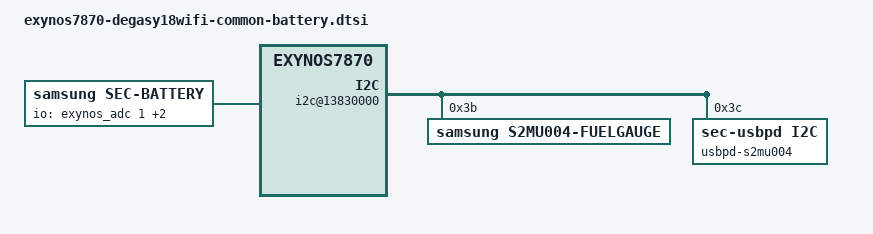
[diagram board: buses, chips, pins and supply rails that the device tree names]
/*
 * SAMSUNG UNIVERSAL5433 board device tree source
 *
 * Copyright (c) 2013 Samsung Electronics Co., Ltd.
 *		http://www.samsung.com
 *
 * This program is free software; you can redistribute it and/or modify
 * it under the terms of the GNU General Public License version 2 as
 * published by the Free Software Foundation.
 */

/ {
	pinctrl@139F0000 {
		fuel_irq: fuel-irq {
			samsung,pins = "gpa0-3";
			samsung,pin-function = <0>;
			samsung,pin-pud = <0>;
			samsung,pin-drv = <0>;
		};
	};

	pinctrl@139F0000 {
		if_pmic_irq: if-pmic-irq {
			samsung,pins = "gpa2-7";
			samsung,pin-function = <0>;
			samsung,pin-pud = <0>;
			samsung,pin-drv = <0>;
		};

		usbpd_irq: usbpd-irq {
			samsung,pins = "gpa2-6";
			samsung,pin-function = <0x0f>;
			samsung,pin-pud = <0>;
			samsung,pin-drv = <0>;
		};
	};

	i2c@13830000 {
		status = "okay";
		s2mu004-fuelgauge@3B {
			compatible = "samsung,s2mu004-fuelgauge";
			reg = <0x3B>;
			pinctrl-names = "default";
			pinctrl-0 = <&fuel_irq>;
			fuelgauge,fuel_int = <&gpa0 3 0>;
			fuelgauge,fuel_alert_soc = <1>;
			fuelgauge,fuel_alert_vol = <3300>;
			fuelgauge,capacity_max = <1000>;
			fuelgauge,capacity_max_margin = <200>;
			fuelgauge,capacity_min = <0>;
			fuelgauge,capacity_calculation_type = <28>;
			fuelgauge,capacity_full = <2450>;
			fuelgauge,type_str = "SDI";
			fuelgauge,model_type = <1>;
		};

		usbpd-s2mu004@3C {
			compatible = "sec-usbpd,i2c";
			reg = <0x3C>;
			pinctrl-names = "default";
			pinctrl-0     = <&usbpd_irq>;
			usbpd,usbpd_int = <&gpa2 6 0>;
		};
	};

	battery_params {
			battery,battery_table3 = <17 9 145 8 17 8 208 7 172 7 110 7 28 7 228 6 185
						6 150 6 121 6 97 6 75 6 55 6 34 6 13 6 240 5 195 5
						151 5 125 5 198 4 109 1 103 8 0 8 153 7 49 7 202 6
						98 6 251 5 147 5 44 5 196 4 93 4 246 3 142 3 39 3
						191 2 88 2 240 1 137 1 33 1 186 0 83 0 235 15>;

			battery,battery_table4 = <50 51 51 51 51 52 52 52 53 53 53 54 55 56 56 57
						57 58 58 59 61 154>;

			battery,batcap = <0xA8 0x2F 0xEA 0x0B>; /* [0x0E] [0x0F] [0x10] [0x11] */
			battery,accum = <0x7 0xC2>; /* [0x45] [0x44] */

			battery,soc_arr_val = <10000 9503 9005 8508 8011 7514 7017 6519 6022 5525 5028 4531 4034 3537 3040 2542 2046 1549 1052 554 57 (-100)>;
			battery,ocv_arr_val = <44376 43735 43094 42456 41890 41352 40839 40341 39746 39466 38996 38562 38303 38104 37947 37817 37668 37465 37206 36953 36204 31805>;
	};

	battery {
		status = "okay";

		pinctrl-names = "default";

		compatible = "samsung,sec-battery";
		battery,vendor = "SDI SDI";
		battery,charger_name = "s2mu004-charger";
		battery,fuelgauge_name = "s2mu004-fuelgauge";
		battery,technology = <2>; /* POWER_SUPPLY_TECHNOLOGY_LION */
		battery,fgsrc_switch_name = "s2mu004-fuelgauge"; /* Fuelgauge voltage source */

		battery,chip_vendor = "LSI";
		battery,temp_adc_type = <1>; /* SEC_BATTERY_ADC_TYPE_AP */

		battery,polling_time = <10 30 30 30 3600>;

		battery,enable_water_resistance;

		battery,temp_table_adc = <306 318 329 341 353 365 376 388 400 411 423 438 452 467 481 496 511 525 540 554 569
					586 604 621 639 656 678 700 722 744 766 815 839 863 888 912 936 960 985 1009 1038 1066
					1095 1123 1152 1194 1235 1277 1318 1360 1398 1436 1473 1511 1549 1590 1631 1672 1712 1753 1794 1835 1876 1917
					1958 1999 2039 2080 2121 2162 2211 2262 2314 2365 2419 2473 2526 2580 2634 2666 2698 2730 2762 2794 2839 2884 2929
					2974 3019 3051 3083 3114 3146 3178 3209 3239 3269 3299 3319 3340 3361 3382 3403
					3424 3445 3466 3487 3508 3529 3559>;

		battery,temp_table_data = <900 890 880 870 860 850 840 830 820 810 800 790 780 770 760 750 740 730 720 710 700
					690 680 670 660 650 640 630 620 610 600 590 580 570 560 550 540 530 520 510 500 490 480
					470 460 450 440 430 420 410 400 390 380 370 360 350 340 330 320 310 300 290 280 270 260
					250 240 230 220 210 200 190 180 170 160 150 140 130 120 110 100 90 80 70 60 50 40 30
					20 10 00 (-10) (-20) (-30) (-40) (-50) (-60) (-70) (-80) (-90) (-100) (-110) (-120) (-130)
					(-140) (-150) (-160) (-170) (-180) (-190) (-200) >;

		battery,wireless_cc_cv = <86>;
		battery,inbat_voltage = <1>;
		battery,inbat_voltage_table_adc = <2980 2941 2890 2877 2850 2807 2780 2736 2702 2660 2628 2602 2575 2545 2518>;
		battery,inbat_voltage_table_data = <410 405 400 395 390 385 380 375 370 365 360 355 350 345 340>;

		battery,adc_check_count = <5>;

		battery,cable_check_type = <4>; /* SEC_BATTERY_CABLE_CHECK_PSY */
		battery,cable_source_type = <1>; /* SEC_BATTERY_CABLE_SOURCE_EXTERNAL */
		battery,polling_type = <1>; /* SEC_BATTERY_MONITOR_ALARM */
		battery,monitor_initial_count = <0>;

		battery,battery_check_type = <0>; /* SEC_BATTERY_CHECK_NONE */
		battery,check_count = <0>;

		battery,check_adc_max = <1440>;
		battery,check_adc_min = <0>;

		battery,ovp_uvlo_check_type = <3>; /* SEC_BATTERY_OVP_UVLO_CHGPOLLING */

		battery,thermal_source = <2>; /* SEC_BATTERY_THERMAL_SOURCE_ADC */

		battery,temp_check_type = <2>; /* SEC_BATTERY_TEMP_CHECK_TEMP */
		battery,temp_check_count = <1>;
		battery,temp_highlimit_threshold_normal = <800>;
		battery,temp_highlimit_recovery_normal = <750>;
		battery,temp_high_threshold_normal = <500>;
		battery,temp_high_recovery_normal = <450>;
		battery,temp_low_threshold_normal = <0>;
		battery,temp_low_recovery_normal = <50>;
		battery,temp_highlimit_threshold_lpm = <800>;
		battery,temp_highlimit_recovery_lpm = <750>;
		battery,temp_high_threshold_lpm = <500>;
		battery,temp_high_recovery_lpm = <450>;
		battery,temp_low_threshold_lpm = <0>;
		battery,temp_low_recovery_lpm = <50>;
		battery,full_check_type = <2>; /* SEC_BATTERY_FULLCHARGED_FG_CURRENT */
		battery,full_check_type_2nd = <2>; /* NONE */
		battery,full_check_count = <1>;
		battery,chg_gpio_full_check = <0>;
		battery,chg_polarity_full_check = <1>;

		battery,chg_high_temp_1st = <530>;
		battery,chg_high_temp_2nd = <530>;
		battery,chg_high_temp_recovery = <525>;
		battery,chg_charging_limit_current = <1300>;
		battery,chg_charging_limit_current_2nd = <1300>;
		battery,chg_skip_check_capacity = <10>;
		battery,chg_skip_check_time = <600>;

		battery,wpc_high_temp = <420>;
		battery,wpc_high_temp_recovery = <410>;
		battery,wpc_charging_limit_current = <450>;

		/* SEC_BATTERY_FULL_CONDITION_SOC |
		   SEC_BATTERY_FULL_CONDITION_NOTIMEFULL |
		   SEC_BATTERY_FULL_CONDITION_VCELL */
		battery,full_condition_type = <15>;
		battery,full_condition_soc = <93>;
		battery,full_condition_vcell = <4000>;

		battery,recharge_check_count = <2>;
		battery,recharge_condition_type = <4>; /* SEC_BATTERY_RECHARGE_CONDITION_VCELL */
		battery,recharge_condition_soc = <98>;
		battery,recharge_condition_vcell = <3990>;

		battery,swelling_high_temp_block = <410>;
		battery,swelling_high_temp_recov = <390>;

		battery,swelling_low_temp_2step_mode = <1>;
		battery,swelling_low_temp_block_1st = <150>;
		battery,swelling_low_temp_recov_1st = <200>;
		battery,swelling_low_temp_block_2nd = <50>;
		battery,swelling_low_temp_recov_2nd = <100>;
		battery,swelling_low_temp_additional = <50>;

		battery,swelling_low_temp_current = <900>;
		battery,swelling_low_temp_additional_current = <900>;
		battery,swelling_low_temp_topoff = <250>;
		battery,swelling_high_temp_current = <1000>;
		battery,swelling_high_temp_topoff = <250>;

		battery,swelling_drop_float_voltage = <4050>;
		battery,swelling_high_rechg_voltage = <3850>;
		battery,swelling_low_rechg_voltage = <3850>;

		battery,expired_time = <18000>;
		battery,recharginig_expired_time = <5400>;
		battery,standard_curr = <1000>;

		battery,charging_total_time = <21600>;
		battery,recharging_total_time = <5400>;
		battery,charging_reset_time = <0>;

		battery,max_input_voltage = <5000>;
		battery,max_input_current = <1000>;
		battery,max_charging_current = <1000>;

		io-channels = <&exynos_adc 1>, <&exynos_adc 5>, <&exynos_adc 6>;
		io-channel-names = "adc-temp", "adc-in-bat", "adc-chg-temp";
		#io-channel-cells = <1>;
		io-channel-ranges;

		battery,chg_float_voltage = <4090>;
	};

	s2mu004-charger {
		status = "disable";
		compatible = "samsung,s2mu004-charger";
		battery,is_1MHz_switching = <1>;
		battery,chg_gpio_en = <0>;
		battery,chg_polarity_en = <0>;
		battery,chg_gpio_status = <0>;
		battery,chg_polarity_status = <0>;
		battery,chg_float_voltage = <4090>;
	};

/* sec_battery_cable
 *   0	UNKNOWN,
 *   1	NONE,
 *   2	PREPARE_TA,
 *   3	TA,
 *   4	USB,
 *   5	USB_CDP,
 *   6	9V_TA,
 *   7	9V_ERR,
 *   8	9V_UNKNOWN,
 *   9	12V_TA,
 *  10	WIRELESS,
 *  11	HV_WIRELESS,
 *  12	PMA_WIRELESS,
 *  13	WIRELESS_PACK,
 *  14	WIRELESS_PACK_TA,
 *  15	WIRELESS_STAND,
 *  16	WIRELESS_HV_STAND,
 *  17	QC20,
 *  18	QC30,
 *  19	PDIC,
 *  20	UARTOFF,
 *  21	OTG,
 *  22	LAN_HUB,
 *  23	POWER_SHARING,
 *  24	HMT_CONNECTED,
 *  25	HMT_CHARGE,
 *  26	HV_TA_CHG_LIMIT,
 *  27	WIRELESS_VEHICLE,
 *  28	WIRELESS_HV_VEHICLE,
 *  29	PREPARE_WIRELESS_HV,
 *  30	TIMEOUT,
 *  31	CABLE_MAX,
 */
	cable-info {
		default_input_current = <1000>;
		default_charging_current = <1000>;
		full_check_current_1st = <200>;
		full_check_current_2nd = <200>;

		current_group_1 {
			cable_number = <1 4 19 21 22 23 30>;
			input_current = <500>;
			charging_current = <500>;
		};

		current_group_2 {
			cable_number = <10 12 14 15 27>;
			input_current = <900>;
			charging_current = <1200>;
		};

		current_group_3 {
			cable_number = <13>;
			input_current = <700>;
			charging_current = <1200>;
		};

		current_group_4 {
			cable_number = <24>;
			input_current = <1000>;
			charging_current = <450>;
		};

		current_group_5 {
			cable_number = <11 16 28>;
			input_current = <650>;
			charging_current = <1200>;
		};

		current_group_6 {
			cable_number = <29>;
			input_current = <500>;
			charging_current = <1200>;
		};
	};

};
